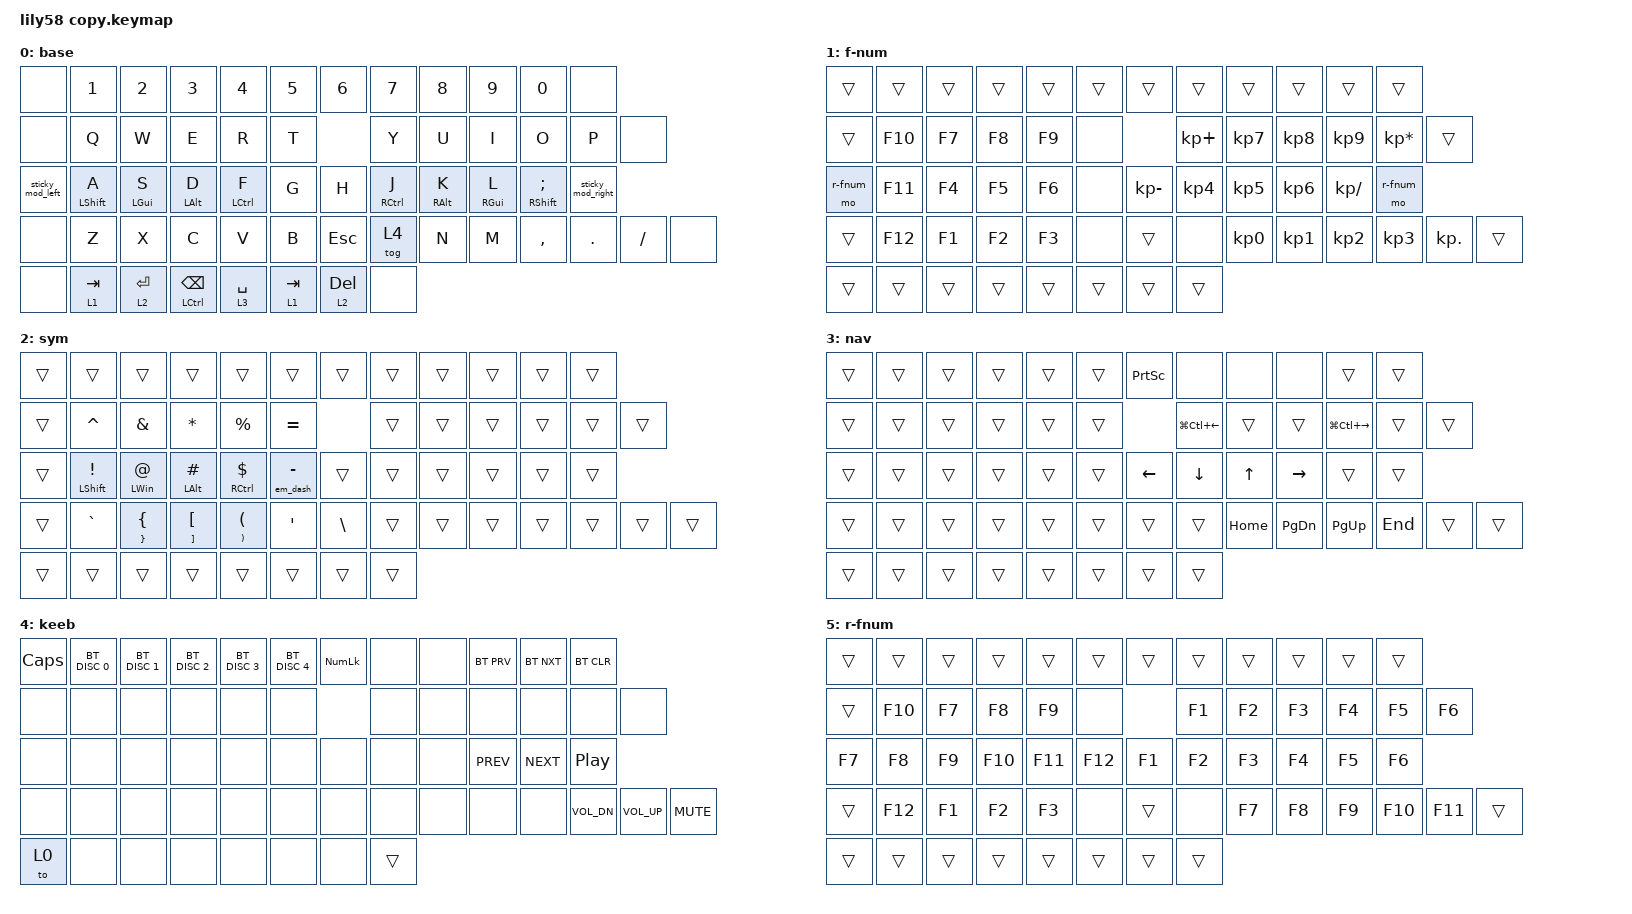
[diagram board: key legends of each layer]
/*
 * Copyright (c) 2024 The ZMK Contributors
 *
 * SPDX-License-Identifier: MIT
 */

#include <behaviors.dtsi>
#include <dt-bindings/zmk/bt.h>
#include <dt-bindings/zmk/keys.h>

{
    behaviors {
        hm: homerow_mods {
            compatible = "zmk,behavior-hold-tap";
            label = "HOMEROW_MODS";
            #binding-cells = <2>;
            tapping-term-ms = <200>;
            quick-tap-ms = <0>;
            flavor = "tap-preferred";
            bindings = <&kp>, <&kp>;
        };

        WinShiftDance: WinShiftDance {
            compatible = "zmk,behavior-tap-dance";
            label = "WINSHIFTDANCE";
            #binding-cells = <0>;
            bindings = <&mt LEFT_SHIFT LWIN>, <&kp LWIN>;
        };

        LayerModTap: LayerModTap {
            compatible = "zmk,behavior-hold-tap";
            label = "LAYERMODTAP";
            bindings = <&mo>, <&tog>;
            #binding-cells = <2>;
            tapping-term-ms = <200>;
        };

        dash_dance: dash_dance {
            compatible = "zmk,behavior-hold-tap";
            label = "DASH_DANCE";
            #binding-cells = <2>;
            tapping-term-ms = <200>;
            quick-tap-ms = <0>;
            bindings = <&em_dash>, <&kp>;
        };

        dance: dance {
            compatible = "zmk,behavior-hold-tap";
            label = "DANCE";
            #binding-cells = <2>;
            tapping-term-ms = <200>;
            quick-tap-ms = <0>;
            bindings = <&kp>, <&kp>;
            flavor = "balanced";
        };

        /* 
         * New sticky modifier behaviors for the base layer pinkies.
         * These behaviors (which you must supply or adapt) capture whatever
         * modifier combo is held at the moment of tapping and “latch” it for
         * the next non‑modifier key press.
         */
        sticky_mod_left: sticky_mod {
            compatible = "zmk,behavior-sticky-mod";
            label = "STICKY_MOD_LEFT";
            /* (Add parameters as needed) */
        };

        sticky_mod_right: sticky_mod {
            compatible = "zmk,behavior-sticky-mod";
            label = "STICKY_MOD_RIGHT";
            /* (Add parameters as needed) */
        };
    };

    macros {
        em_dash: em_dash {
            compatible = "zmk,behavior-macro";
            #binding-cells = <0>;
            wait-ms = <30>;
            tap-ms = <40>;
            bindings =
                <&macro_press>,
                <&kp LALT>,
                <&macro_tap>,
                <&kp KP_N0>,
                <&macro_tap>,
                <&kp KP_N1>,
                <&macro_tap>,
                <&kp KP_N5>,
                <&macro_tap>,
                <&kp KP_N1>,
                <&macro_release>,
                <&kp LALT>;
            label = "EM_DASH";
        };
    };

    keymap {
        compatible = "zmk,keymap";

        /*
         * BASE LAYER
         *
         * The home row now uses sticky modifier keys on the pinkies.
         */
        base {
            bindings = <
                /* Top row (12 keys) */
                &none   &kp N1   &kp N2   &kp N3   &kp N4   &kp N5   &kp N6   &kp N7   &kp N8   &kp N9   &kp N0   &none

                /* QWERTY row (12 keys) */
                &none   &kp Q    &kp W    &kp E    &kp R    &kp T   &kp Y   &kp U    &kp I    &kp O    &kp P    &none

                /* Home row (12 keys) */
                &sticky_mod_left   &hm LSHIFT A   &hm LGUI S   &hm LALT D   &hm LCTRL F   &kp G  
                &kp H   &hm RCTRL J   &hm RALT K   &hm RGUI L   &hm RSHIFT SEMI   &sticky_mod_right

                /* Bottom row (14 keys) */
                &none   &kp Z   &kp X   &kp C   &kp V   &kp B   &kp ESC   &tog 4   &kp N   &kp M   &kp COMMA   &kp DOT   &kp FSLH   &none

                /* Thumb cluster (8 keys) */
                          &none   &lt 1 TAB   &lt 2 ENTER   &mt LCTRL BACKSPACE   &lt 3 SPACE   &lt 1 TAB   &lt 2 DEL   &none
            >;
            label = "base";
        };

        /*
         * F_NUMBERS LAYER
         *
         * (Activated via a thumb‐cluster key, for example.)
         * Here the home row’s pinky positions are replaced by &mo switches.
         */
        f_numbers {
            bindings = <
                /* Top row (12 keys) */
                &trans   &trans   &trans   &trans   &trans   &trans   &trans   &trans   &trans   &trans   &trans   &trans

                /* QWERTY row (12 keys) */
                &trans   &kp F10   &kp F7   &kp F8   &kp F9   &none   &kp KP_PLUS   &kp KP_N7   &kp KP_N8   &kp KP_N9   &kp KP_MULTIPLY   &trans

                /* Home row (12 keys) --
                   Replace the left/right pinky keys with layer‐raise keys */
                &mo r-fnum   &kp F11   &kp F4   &kp F5   &kp F6   &none   &kp KP_MINUS   &kp KP_N4   &kp KP_N5   &kp KP_N6   &kp KP_DIVIDE   &mo r-fnum

                /* Bottom row (14 keys) */
                &trans   &kp F12   &kp F1   &kp F2   &kp F3   &none   &trans   &none   &kp KP_N0   &kp KP_N1   &kp KP_N2   &kp KP_N3   &kp KP_DOT   &trans

                /* Thumb cluster (8 keys) */
                &trans   &trans   &trans   &trans   &trans   &trans   &trans   &trans
            >;
            label = "f-num";
        };

        /*
         * LEFT_SYMBOLS LAYER
         *
         * (For your left-hand symbols.)
         */
        left_symbols {
            bindings = <
                &trans   &trans    &trans    &trans    &trans    &trans    &trans    &trans    &trans    &trans    &trans    &trans

                &trans   &kp CARET    &kp AMPERSAND    &kp ASTERISK    &kp PERCENT    &kp EQUAL    &trans    &trans    &trans    &trans    &trans    &trans

                &trans   &hm LSHIFT EXCLAMATION   &hm LWIN AT_SIGN   &hm LALT HASH   &hm RCTRL DOLLAR   &dash_dance 0 MINUS   &trans    &trans    &trans    &trans    &trans    &trans

                &trans   &kp GRAVE   &dance RIGHT_BRACE LEFT_BRACE   &dance RIGHT_BRACKET LEFT_BRACKET   &dance RIGHT_PARENTHESIS LEFT_PARENTHESIS   &kp SQT   &kp BACKSLASH   &trans    &trans    &trans    &trans    &trans    &trans   &trans

                &trans   &trans   &trans   &trans   &trans   &trans   &trans   &trans
            >;
            label = "sym";
        };

        /*
         * NAVIGATION LAYER
         */
        navigation {
            bindings = <
                &trans   &trans   &trans   &trans   &trans   &trans   &kp PSCRN   &none   &none   &none   &trans   &trans

                &trans   &trans   &trans   &trans   &trans   &trans   &kp LG(LC(LEFT))   &trans   &trans   &kp LG(LC(RIGHT))   &trans   &trans

                &trans   &trans   &trans   &trans   &trans   &trans   &kp LEFT   &kp DOWN   &kp UP   &kp RIGHT   &trans   &trans

                &trans   &trans   &trans   &trans   &trans   &trans   &trans   &trans   &kp HOME   &kp PG_DN   &kp PG_UP   &kp END   &trans   &trans

                &trans   &trans   &trans   &trans   &trans   &trans   &trans   &trans
            >;
            label = "nav";
        };

        /*
         * BOARD LAYER
         */
        board {
            bindings = <
                &kp CAPS   &bt BT_DISC 0   &bt BT_DISC 1   &bt BT_DISC 2   &bt BT_DISC 3   &bt BT_DISC 4   &kp KP_NLCK   &none   &none   &bt BT_PRV   &bt BT_NXT   &bt BT_CLR

                &none   &none   &none   &none   &none   &none   &none   &none   &none   &none   &none   &none

                &none   &none   &none   &none   &none   &none   &none   &none   &none   &kp C_PREV   &kp C_NEXT   &kp C_PP

                &none   &none   &none   &none   &none   &none   &none   &none   &none   &none   &none   &kp C_VOL_DN   &kp C_VOL_UP   &kp C_MUTE

                &to 0   &none   &none   &none   &none   &none   &none   &trans
            >;
            label = "keeb";
        };

        /*
         * R-FNUM LAYER (Raised f_numbers)
         *
         * In this sample mapping the “raise” keys (the pinkies in f_numbers)
         * send you to this layer which converts part of the ten-key area to F-keys.
         *
         * Feel free to adjust the F-key assignments to suit your needs.
         */
        r-fnum {
            bindings = <
                /* Top row (12 keys) */
                &trans   &trans   &trans   &trans   &trans   &trans   &trans   &trans   &trans   &trans   &trans   &trans

                /* QWERTY row (12 keys): override right half with F1–F6 */
                &trans   &kp F10   &kp F7   &kp F8   &kp F9   &none   &kp F1   &kp F2   &kp F3   &kp F4   &kp F5   &kp F6

                /* Home row (12 keys):
                   Left half: assign F7–F12;
                   Right half: assign F1–F6 */
                &kp F7   &kp F8   &kp F9   &kp F10   &kp F11   &kp F12   &kp F1   &kp F2   &kp F3   &kp F4   &kp F5   &kp F6

                /* Bottom row (14 keys):
                   Override the right-hand section with F7–F11. */
                &trans   &kp F12   &kp F1   &kp F2   &kp F3   &none   &trans   &none   &kp F7   &kp F8   &kp F9   &kp F10   &kp F11   &trans

                /* Thumb cluster (8 keys) */
                &trans   &trans   &trans   &trans   &trans   &trans   &trans   &trans
            >;
            label = "r-fnum";
        };
    };

    conditional_layers { compatible = "zmk,conditional-layers"; };
}
